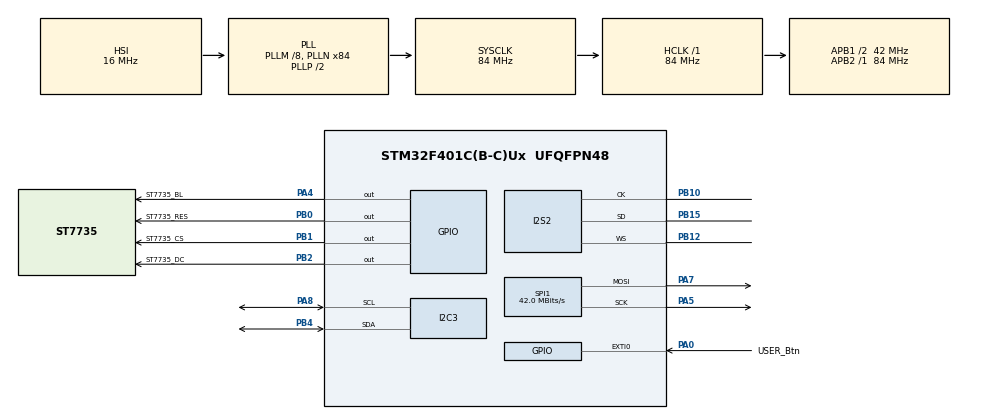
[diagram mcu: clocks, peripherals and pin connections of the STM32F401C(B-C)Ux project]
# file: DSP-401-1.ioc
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Dma.Request0=SPI2_RX
Dma.Request1=SPI1_TX
Dma.SPI1_TX.1.Direction=DMA_MEMORY_TO_PERIPH
Dma.SPI1_TX.1.FIFOMode=DMA_FIFOMODE_DISABLE
Dma.SPI1_TX.1.Instance=DMA2_Stream3
Dma.SPI1_TX.1.MemDataAlignment=DMA_MDATAALIGN_BYTE
Dma.SPI1_TX.1.MemInc=DMA_MINC_ENABLE
Dma.SPI1_TX.1.Mode=DMA_NORMAL
Dma.SPI1_TX.1.PeriphDataAlignment=DMA_PDATAALIGN_BYTE
Dma.SPI1_TX.1.PeriphInc=DMA_PINC_DISABLE
Dma.SPI1_TX.1.Priority=DMA_PRIORITY_LOW
Dma.SPI2_RX.0.Direction=DMA_PERIPH_TO_MEMORY
Dma.SPI2_RX.0.FIFOMode=DMA_FIFOMODE_DISABLE
Dma.SPI2_RX.0.Instance=DMA1_Stream3
Dma.SPI2_RX.0.MemDataAlignment=DMA_MDATAALIGN_HALFWORD
Dma.SPI2_RX.0.MemInc=DMA_MINC_ENABLE
Dma.SPI2_RX.0.Mode=DMA_CIRCULAR
Dma.SPI2_RX.0.PeriphDataAlignment=DMA_PDATAALIGN_HALFWORD
Dma.SPI2_RX.0.PeriphInc=DMA_PINC_DISABLE
Dma.SPI2_RX.0.Priority=DMA_PRIORITY_LOW
I2C3.I2C_Mode=I2C_Fast
I2S2.AudioFreq=I2S_AUDIOFREQ_96K
I2S2.DataFormat=I2S_DATAFORMAT_24B
I2S2.ErrorAudioFreq=0.91 %
I2S2.FullDuplexMode=I2S_FULLDUPLEXMODE_DISABLE
I2S2.Instance=SPI$Index
I2S2.Mode=I2S_MODE_MASTER_RX
I2S2.RealAudioFreq=96.875 KHz
I2S2.VirtualMode=I2S_MODE_MASTER
Mcu.Family=STM32F4
Mcu.Name=STM32F401C(B-C)Ux
Mcu.Package=UFQFPN48
NVIC.DMA1_Stream3_IRQn=true\:0\:0\:false\:false\:true\:false\:true\:true
NVIC.DMA2_Stream3_IRQn=true\:0\:0\:false\:false\:true\:false\:true\:true
NVIC.EXTI0_IRQn=true\:0\:0\:false\:false\:true\:true\:true\:true
NVIC.PriorityGroup=NVIC_PRIORITYGROUP_4
PA0-WKUP.GPIO_Label=USER_Btn
PA0-WKUP.GPIO_PuPd=GPIO_PULLUP
PA0-WKUP.Signal=GPXTI0
PA13.Mode=Serial_Wire
PA13.Signal=SYS_JTMS-SWDIO
PA14.Mode=Serial_Wire
PA14.Signal=SYS_JTCK-SWCLK
PA4.GPIO_Label=ST7735_BL
PA4.Signal=GPIO_Output
PA5.Mode=TX_Only_Simplex_Unidirect_Master
PA5.Signal=SPI1_SCK
PA7.Mode=TX_Only_Simplex_Unidirect_Master
PA7.Signal=SPI1_MOSI
PA8.Mode=I2C
PA8.Signal=I2C3_SCL
PB0.GPIO_Label=ST7735_RES
PB0.Signal=GPIO_Output
PB1.GPIO_Label=ST7735_CS
PB1.Signal=GPIO_Output
PB10.Mode=Half_Duplex_Master
PB10.Signal=I2S2_CK
PB12.Mode=Half_Duplex_Master
PB12.Signal=I2S2_WS
PB15.Mode=Half_Duplex_Master
PB15.Signal=I2S2_SD
PB2.GPIO_Label=ST7735_DC
PB2.Signal=GPIO_Output
PB4.Mode=I2C
PB4.Signal=I2C3_SDA
PH0\ -\ OSC_IN.Mode=HSE-External-Oscillator
PH0\ -\ OSC_IN.Signal=RCC_OSC_IN
PH1\ -\ OSC_OUT.Mode=HSE-External-Oscillator
PH1\ -\ OSC_OUT.Signal=RCC_OSC_OUT
ProjectManager.HeapSize=0x200
ProjectManager.StackSize=0x400
ProjectManager.TargetToolchain=STM32CubeIDE
RCC.48MHZClocksFreq_Value=42000000
RCC.AHBFreq_Value=84000000
RCC.APB1CLKDivider=RCC_HCLK_DIV2
RCC.APB1Freq_Value=42000000
RCC.APB1TimFreq_Value=84000000
RCC.APB2Freq_Value=84000000
RCC.APB2TimFreq_Value=84000000
RCC.CortexFreq_Value=84000000
RCC.HCLKFreq_Value=84000000
RCC.HSE_VALUE=25000000
RCC.HSI_VALUE=16000000
RCC.LSE_VALUE=32768
RCC.PLLI2SN=93
RCC.PLLM=8
RCC.PLLN=84
RCC.SYSCLKFreq_VALUE=84000000
RCC.SYSCLKSource=RCC_SYSCLKSOURCE_PLLCLK
RCC.VCOOutputFreq_Value=168000000
SPI1.BaudRatePrescaler=SPI_BAUDRATEPRESCALER_2
SPI1.CalculateBaudRate=42.0 MBits/s
SPI1.DataSize=SPI_DATASIZE_8BIT
SPI1.Direction=SPI_DIRECTION_2LINES
SPI1.Mode=SPI_MODE_MASTER
SPI1.VirtualType=VM_MASTER
STMicroelectronics.X-CUBE-ALGOBUILD.1.3.0.LibraryCcDSPOoLibraryJjDSPOoLibrary=true
VP_STMicroelectronics.X-CUBE-ALGOBUILD_VS_DSPOoLibraryJjLibrary_1.3.0_1.3.0.Mode=DSPOoLibraryJjLibrary
board=custom

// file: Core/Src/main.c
/* USER CODE BEGIN Header */
/**
  ******************************************************************************
  * @file           : main.c
  * @brief          : Main program body
  ******************************************************************************
  * @attention
  *
  * Copyright (c) 2024 STMicroelectronics.
  * All rights reserved.
  *
  * This software is licensed under terms that can be found in the LICENSE file
  * in the root directory of this software component.
  * If no LICENSE file comes with this software, it is provided AS-IS.
  *
  ******************************************************************************
  */
/* USER CODE END Header */
#include "main.h"
#include "dma.h"
#include "i2c.h"
#include "i2s.h"
#include "spi.h"
#include "gpio.h"

/* USER CODE BEGIN Includes */
#include "global_variables.h"
#include "callbacks.h"
#include "FFT.h"
#include <math.h>
#include <stdint.h>
#include <stdio.h>
#include <time.h>
#include <sys/time.h>
#include <stdbool.h>
//#include "ssd1306.h"
#include "u8g2/u8g2.h"
//#include "st7735.h"
#include "st7735/st7735.h"
#include "st7735/fonts.h"
#include "st7735/testimg.h"
/* USER CODE END Includes */

/* USER CODE BEGIN PTD */
//OLED

/* USER CODE END PTD */

void SystemClock_Config(void);
/* USER CODE BEGIN PFP */
const unsigned char upir_logo [] = {0xEA, 0x3A, 0xAA, 0x28, 0x6A, 0x1A, 0x26, 0x2A};

/* USER CODE END PFP */

/* USER CODE BEGIN 0 */
extern uint8_t u8x8_stm32_gpio_and_delay(u8x8_t *u8x8, uint8_t msg, uint8_t arg_int, void *arg_ptr);
//extern uint8_t u8x8_byte_stm32_hw_spi(u8x8_t *u8x8, uint8_t msg, uint8_t arg_int, void *arg_ptr);
extern uint8_t u8x8_byte_stm32_hw_i2c(u8x8_t *u8x8, uint8_t msg, uint8_t arg_int, void *arg_ptr);

static u8g2_t u8g2;
//-----------инициализация вывода команды отладчика print----------------//
int _write(int file, uint8_t *ptr, int len)
{

	for (int DataIdx = 0; DataIdx < len; DataIdx++)
	{
		ITM_SendChar(*ptr++);
	}
	return len;
}
//-----------инициализация вывода команды отладчика print----------------//
void demoTFT(void)
{
 ST7735_SetRotation(r);

 ST7735_FillScreen(ST7735_BLACK);

 for(int x = 0; x < ST7735_GetWidth(); x++)
 {
   ST7735_DrawPixel(x, 0, ST7735_WHITE);
   ST7735_DrawPixel(x, ST7735_GetHeight() - 1, ST7735_WHITE);
 }

 for(int y = 0; y < ST7735_GetHeight(); y++)
 {
   ST7735_DrawPixel(0, y, ST7735_WHITE);
   ST7735_DrawPixel(ST7735_GetWidth() - 1, y, ST7735_WHITE);
 }

 ST7735_DrawLine(0, 0, ST7735_GetWidth(), ST7735_GetHeight(), ST7735_WHITE);
 ST7735_DrawLine(ST7735_GetWidth(), 0, 0, ST7735_GetHeight(), ST7735_WHITE);

 HAL_Delay(2000);

 ST7735_FillScreen(ST7735_BLACK);

 for (int i = 0; i < ST7735_GetHeight(); i += 4)
 {
  ST7735_DrawFastHLine(0, i, ST7735_GetWidth() - 1, ST7735_WHITE);
 }

 for (int i = 0; i < ST7735_GetWidth(); i += 4)
 {
  ST7735_DrawFastVLine(i, 0, ST7735_GetHeight() - 1, ST7735_WHITE);
 }

 HAL_Delay(2000);

 // Check fonts
 ST7735_FillScreen(ST7735_BLACK);
 ST7735_DrawString(0, 0, "Font_7x10, red on black, lorem ipsum dolor sit amet", Font_7x10, ST7735_RED, ST7735_BLACK);
 ST7735_DrawString(0, 3*10, "Font_11x18, green, lorem ipsum", Font_11x18, ST7735_GREEN, ST7735_BLACK);
 ST7735_DrawString(0, 3*10+3*18, "Font_16x26", Font_16x26, ST7735_BLUE, ST7735_BLACK);
 HAL_Delay(2000);

 // Check colors
 ST7735_FillScreen(ST7735_BLACK);
 ST7735_DrawString(0, 0, "BLACK", Font_11x18, ST7735_WHITE, ST7735_BLACK);
 HAL_Delay(500);

 ST7735_FillScreen(ST7735_BLUE);
 ST7735_DrawString(0, 0, "BLUE", Font_11x18, ST7735_BLACK, ST7735_BLUE);
 HAL_Delay(500);

 ST7735_FillScreen(ST7735_RED);
 ST7735_DrawString(0, 0, "RED", Font_11x18, ST7735_BLACK, ST7735_RED);
 HAL_Delay(500);

 ST7735_FillScreen(ST7735_GREEN);
 ST7735_DrawString(0, 0, "GREEN", Font_11x18, ST7735_BLACK, ST7735_GREEN);
 HAL_Delay(500);

 ST7735_FillScreen(ST7735_CYAN);
 ST7735_DrawString(0, 0, "CYAN", Font_11x18, ST7735_BLACK, ST7735_CYAN);
 HAL_Delay(500);

 ST7735_FillScreen(ST7735_MAGENTA);
 ST7735_DrawString(0, 0, "MAGENTA", Font_11x18, ST7735_BLACK, ST7735_MAGENTA);
 HAL_Delay(500);

 ST7735_FillScreen(ST7735_YELLOW);
 ST7735_DrawString(0, 0, "YELLOW", Font_11x18, ST7735_BLACK, ST7735_YELLOW);
 HAL_Delay(500);

 ST7735_FillScreen(ST7735_WHITE);
 ST7735_DrawString(0, 0, "WHITE", Font_11x18, ST7735_BLACK, ST7735_WHITE);
 HAL_Delay(500);

 // Draw circles
 ST7735_FillScreen(ST7735_BLACK);
 for (int i = 0; i < ST7735_GetHeight() / 2; i += 2)
 {
  ST7735_DrawCircle(ST7735_GetWidth() / 2, ST7735_GetHeight() / 2, i, ST7735_YELLOW);
 }
 HAL_Delay(1000);

 ST7735_FillScreen(ST7735_BLACK);
 ST7735_FillTriangle(0, 0, ST7735_GetWidth() / 2, ST7735_GetHeight(), ST7735_GetWidth(), 0, ST7735_RED);
 HAL_Delay(1000);

 ST7735_FillScreen(ST7735_BLACK);
 ST7735_DrawImage(0, 0, 128, 128, (uint16_t*) test_img_128x128);
 HAL_Delay(3000);

 r++;
}
void main_loop()
{
	int fft_in_ptr = 0;
	if (buffer_state == FFT_BUFFER_HALF)
		  {
			  for (int i = 0;i < 1024; i++)
				  //fft_input_buffer[i] = (float)(int)adc_buffer[i];
			  {
				  fft_input_buffer[fft_in_ptr] = (float) ((int) (adc_buffer[i]<<16)|adc_buffer[i+1]);// | Побитовый инклюзивный оператор OR
				  //fft_input_buffer[fft_in_ptr] = (float)adc_buffer[i] / 4096.0*3.3;
				  //fft_input_buffer[fft_in_ptr] += (float) ((int) (adc_buffer[i+2]<<16)|adc_buffer[i+3]);
				  fft_in_ptr++;
			  }
			  FFT();
		  }

		  if (buffer_state == FFT_BUFFER_FULL)
		  {
			  for (int i = 1024;i < 2048; i++)
				  //fft_input_buffer[i] = (float)(int)adc_buffer[i];
			  {
				  fft_input_buffer[fft_in_ptr] = (float) ((int) (adc_buffer[i]<<16)|adc_buffer[i+1]);// | Побитовый инклюзивный оператор OR
				  //fft_input_buffer[fft_in_ptr] = (float)adc_buffer[i] / 4096.0*3.3;
				  //fft_input_buffer[fft_in_ptr] += (float) ((int) (adc_buffer[i+2]<<16)|adc_buffer[i+3]);
				  fft_in_ptr++;
				  xxx = i;
			   }
			  FFT();
		  }

		  if (buffer_state == FFT_DISPLAY)
		  {
			  //DisplayFFT();
			//  u8g2_ClearBuffer (&u8g2);
			//  u8g2_SetDrawColor(&u8g2,1);

			  switch(display_state)
			  	{
			  	case DISPLAY_MANY:
			  		//u8g2_SetFont(&u8g2, u8g2_font_nerhoe_tr);
				  		//uint8_t r = 3;
				  		ST7735_SetRotation(r);
				  		ST7735_FillScreen(ST7735_BLACK);

	//			  		 ST7735_DrawString(0, 0, "Font_7x10, red on black, lorem ipsum dolor sit amet", Font_7x10, ST7735_RED, ST7735_BLACK);
	//			  		 ST7735_DrawString(0, 3*10, "Font_11x18, green, lorem ipsum", Font_11x18, ST7735_GREEN, ST7735_BLACK);
	//			  		 ST7735_DrawString(0, 3*10+3*18, "Font_16x26", Font_16x26, ST7735_BLUE, ST7735_BLACK);
				  		 //HAL_Delay(2000);

				  		for (int i=0; i<32; i++) // loop for every fraquency (63Hz, 160Hz, 400Hz, 1kHz, 2.5kHz, 6.25kHz and 16kHz)
				  		{

				  			//random_value = freqs[chosen_freqs[i]]/maxMagnitude;//freqs[chosen_freqs[i]];//(rand()%53 + 0);//bandValues[i];//(rand()%53 + 0);; // calculate random value between 0-1024

				  			random_value = freqs [chosen_freqs[i]]-maxValue-maxMagnitude;//maxValue*2;//bandValues[i]/maxMagnitude;
				  			if (random_value > 40) random_value = 40;
				  			audio_bar_height[i] = audio_bar_height[i] + ((random_value - audio_bar_height[i]))/value; // update the bar with a new value (slowly)

				  			// calculate the peak position
				  			if (audio_bar_peak[i] < audio_bar_height[i]) // if the peak is below the current bar size
				  			{
				  				audio_bar_peak[i] = audio_bar_height[i]; // move peak to the new max. position (i.e. size of the bar)
				  			}
				  			else if (audio_bar_peak[i] > audio_bar_height[i])
				  			{ // if the bar is lower than the peak
				  				audio_bar_peak[i]--; // slowly move the peak down, one pixel every frame
				  				//audio_bar_peak[i]--; // slowly move the peak down, one pixel every frame
				  				//audio_bar_peak[i]--; // slowly move the peak down, one pixel every frame
				  			}

				  			ST7735_FillRectangle(1 + i*5, 40, 3, audio_bar_height[i], 0x3fe0);
				  			ST7735_FillRectangle(1 + i*5, 40-audio_bar_height[i], 3, audio_bar_height[i], 0xf7e0);
				  			ST7735_FillRectangle(1 + i*5, 40-audio_bar_peak[i], 3, 3, 0x04bf);//(rand()%65534 + 0)); // draw peak 64-audio_bar_peak[i]
				  			ST7735_FillRectangle(1 + i*5, 40+audio_bar_peak[i], 3, 3, 0xf816);//(rand()%65534 + 0)); // draw peak 64-audio_bar_peak[i]
	//			  			u8g2_DrawBox(&u8g2,1 + i*4, 32, 1, audio_bar_height[i]); // draw bar 64-audio_bar_height[i]
	//			  			u8g2_DrawBox(&u8g2,1 + i*4, 32-audio_bar_height[i], 1, audio_bar_height[i]); // draw bar 64-audio_bar_height[i]
	//			  			u8g2_DrawBox(&u8g2,1 + i*4, 32-audio_bar_peak[i], 1, 2); // draw peak 64-audio_bar_peak[i]
	//			  			u8g2_DrawBox(&u8g2,1 + i*4, 32+audio_bar_peak[i], 1, 2); // draw peak 64-audio_bar_peak[i]

				  		}
				  		//r++;
			  		break;
			  	case DISPLAY_FEW:
			  		//u8g2_SetFont(&u8g2, u8g2_font_nerhoe_tr);

			  						  		ST7735_SetRotation(r);
			  						  		ST7735_FillScreen(ST7735_BLACK);

			  						  		for (int i=0; i<32; i++) // loop for every fraquency (63Hz, 160Hz, 400Hz, 1kHz, 2.5kHz, 6.25kHz and 16kHz)
			  						  		{

			  						  			//random_value = freqs[chosen_freqs[i]]/maxMagnitude;//freqs[chosen_freqs[i]];//(rand()%53 + 0);//bandValues[i];//(rand()%53 + 0);; // calculate random value between 0-1024

			  						  			random_value = freqs [chosen_freqs[i]]-maxValue-maxMagnitude1;//maxValue*2;//bandValues[i]/maxMagnitude;
			  						  			if (random_value > 80) random_value = 80;
			  						  			audio_bar_height[i] = audio_bar_height[i] + ((random_value - audio_bar_height[i]))/value; // update the bar with a new value (slowly)

			  						  			// calculate the peak position
			  						  			if (audio_bar_peak[i] < audio_bar_height[i]) // if the peak is below the current bar size
			  						  			{
			  						  				audio_bar_peak[i] = audio_bar_height[i]; // move peak to the new max. position (i.e. size of the bar)
			  						  			}
			  						  			else if (audio_bar_peak[i] > audio_bar_height[i])
			  						  			{ // if the bar is lower than the peak
			  						  				audio_bar_peak[i]--; // slowly move the peak down, one pixel every frame
			  						  				//audio_bar_peak[i]--; // slowly move the peak down, one pixel every frame
			  						  				//audio_bar_peak[i]--; // slowly move the peak down, one pixel every frame
			  						  			}

			  						  			ST7735_FillRectangle(1 + i*5, 80-audio_bar_height[i], 3, audio_bar_height[i], 0xffe0);
			  						  			ST7735_FillRectangle(1 + i*5, 80-audio_bar_peak[i], 3, 3, ST7735_RED);

			  			//			  			u8g2_DrawBox(&u8g2,1 + i*4, 32, 1, audio_bar_height[i]); // draw bar 64-audio_bar_height[i]
			  			//			  			u8g2_DrawBox(&u8g2,1 + i*4, 32-audio_bar_height[i], 1, audio_bar_height[i]); // draw bar 64-audio_bar_height[i]
			  			//			  			u8g2_DrawBox(&u8g2,1 + i*4, 32-audio_bar_peak[i], 1, 2); // draw peak 64-audio_bar_peak[i]
			  			//			  			u8g2_DrawBox(&u8g2,1 + i*4, 32+audio_bar_peak[i], 1, 2); // draw peak 64-audio_bar_peak[i]

			  						  		}
//			  		u8g2_SetFont(&u8g2, u8g2_font_nerhoe_tr);
//			  		for (int i=0; i<32; i++) // loop for every fraquency (63Hz, 160Hz, 400Hz, 1kHz, 2.5kHz, 6.25kHz and 16kHz)
//			  		{
//
//			  			//random_value = freqs[chosen_freqs[i]]/maxMagnitude;//freqs[chosen_freqs[i]];//(rand()%53 + 0);//bandValues[i];//(rand()%53 + 0);; // calculate random value between 0-1024
//
//			  			random_value = freqs [chosen_freqs[i]]-maxValue-maxMagnitude;//maxValue*2;//bandValues[i]/maxMagnitude;
//			  			if (random_value > 64) random_value = 64;
//			  			audio_bar_height[i] = audio_bar_height[i] + ((random_value - audio_bar_height[i]))/value; // update the bar with a new value (slowly)
//
//			  			// calculate the peak position
//			  			if (audio_bar_peak[i] < audio_bar_height[i]) // if the peak is below the current bar size
//			  			{
//			  				audio_bar_peak[i] = audio_bar_height[i]; // move peak to the new max. position (i.e. size of the bar)
//			  			}
//			  			else if (audio_bar_peak[i] > audio_bar_height[i])
//			  			{ // if the bar is lower than the peak
//			  				audio_bar_peak[i]--; // slowly move the peak down, one pixel every frame
//			  				//audio_bar_peak[i]--; // slowly move the peak down, one pixel every frame
//			  				//audio_bar_peak[i]--; // slowly move the peak down, one pixel every frame
//			  			}
//
//			  			u8g2_DrawBox(&u8g2,1 + i*4, 64-audio_bar_height[i], 1, audio_bar_height[i]); // draw bar 64-audio_bar_height[i]
//			  			u8g2_DrawBox(&u8g2,1 + i*4, 64-audio_bar_peak[i], 1, 1); // draw bar 64-audio_bar_height[i]
//			  			//u8g2_DrawBox(&u8g2,1 + i*4, 64-audio_bar_peak[i], 1, 1); // draw peak 64-audio_bar_peak[i]
//			  			//u8g2_DrawBox(&u8g2,1 + i*4, 64-audio_bar_peak[i], 1, 1); // draw peak 64-audio_bar_peak[i]
//			  		}

			  		break;
			  	case DISPLAY_COW:
			  		u8g2_SetFont(&u8g2, u8g2_font_nerhoe_tr);
			  					  		for (int i=0; i<32; i++) // loop for every fraquency (63Hz, 160Hz, 400Hz, 1kHz, 2.5kHz, 6.25kHz and 16kHz)
			  					  		{

			  					  			//random_value = freqs[chosen_freqs[i]]/maxMagnitude;//freqs[chosen_freqs[i]];//(rand()%53 + 0);//bandValues[i];//(rand()%53 + 0);; // calculate random value between 0-1024

			  					  			random_value = freqs [chosen_freqs[i]]-maxValue-maxMagnitude;//maxValue*2;//bandValues[i]/maxMagnitude;
			  					  			if (random_value > 32) random_value = 32;
			  					  			audio_bar_height[i] = audio_bar_height[i] + ((random_value - audio_bar_height[i]))/value; // update the bar with a new value (slowly)

			  					  			// calculate the peak position
			  					  			if (audio_bar_peak[i] < audio_bar_height[i]) // if the peak is below the current bar size
			  					  			{
			  					  				audio_bar_peak[i] = audio_bar_height[i]; // move peak to the new max. position (i.e. size of the bar)
			  					  			}
			  					  			else if (audio_bar_peak[i] > audio_bar_height[i])
			  					  			{ // if the bar is lower than the peak
			  					  				audio_bar_peak[i]--; // slowly move the peak down, one pixel every frame
			  					  				//audio_bar_peak[i]--; // slowly move the peak down, one pixel every frame
			  					  				//audio_bar_peak[i]--; // slowly move the peak down, one pixel every frame
			  					  			}

			  					  			u8g2_DrawBox(&u8g2,1 + i*4, 32, 1, audio_bar_height[i]); // draw bar 64-audio_bar_height[i]
			  					  			u8g2_DrawBox(&u8g2,1 + i*4, 32-audio_bar_height[i], 1, audio_bar_height[i]); // draw bar 64-audio_bar_height[i]
			  					  			u8g2_DrawBox(&u8g2,1 + i*4, 32-audio_bar_peak[i], 1, 2); // draw peak 64-audio_bar_peak[i]
			  					  			u8g2_DrawBox(&u8g2,1 + i*4, 32+audio_bar_peak[i], 1, 2); // draw peak 64-audio_bar_peak[i]
			  					  		}
			  					  		//u8g2_SendBuffer(&u8g2);

			  					  		//xxx = 23;
			  		break;
			  	default:
			  		break;
			  	}
			 // u8g2_SendBuffer(&u8g2);
			  	buffer_state = FFT_BUFFER_CLEAR;
			  }

//			  					  	  			  		      u8g2_SetFont(&u8g2, u8g2_font_nerhoe_tr);
//			  					  	  			  			  u8g2_DrawStr(&u8g2,  2, 64, ".");
//			  					  	  			  			  u8g2_DrawStr(&u8g2, 7, 64, ".");
//			  					  	  			  			  u8g2_DrawStr(&u8g2, 12, 64, ".");
//			  					  	  			  			  u8g2_DrawStr(&u8g2, 17, 64, ".");
//			  					  	  			  			  u8g2_DrawStr(&u8g2, 22, 64, ".");
//			  					  	  			  			  u8g2_DrawStr(&u8g2, 27, 64, ".");
//			  					  	  			  			  u8g2_DrawStr(&u8g2, 32, 64, ".");
//			  					  	  			  			  u8g2_DrawStr(&u8g2, 37, 64, ".");
//			  					  	  			  			  u8g2_DrawStr(&u8g2, 42, 64, ".");
//			  					  	  			  			  u8g2_DrawStr(&u8g2, 47, 64, ".");
//			  					  	  			  			  u8g2_DrawStr(&u8g2, 52, 64, ".");
//			  					  	  			  			  u8g2_DrawStr(&u8g2, 57, 64, ".");
//			  					  	  			  			  u8g2_DrawStr(&u8g2, 62, 64, ".");
//			  					  	  			  			  u8g2_DrawStr(&u8g2, 67, 64, ".");
//			  					  	  			  			  u8g2_DrawStr(&u8g2, 72, 64, ".");
//			  					  	  			  			  u8g2_DrawStr(&u8g2, 77, 64, ".");
//			  					  	  			  			  u8g2_DrawStr(&u8g2, 82, 64, ".");
//			  					  	  			  			  u8g2_DrawStr(&u8g2, 87, 64, ".");
//			  					  	  			  			  u8g2_DrawStr(&u8g2, 92, 64, ".");
//			  					  	  			  		      u8g2_DrawStr(&u8g2, 97, 64, ".");
//			  					  	  			  		      u8g2_DrawStr(&u8g2, 102, 64, ".");
//			  					  	  			  		      u8g2_DrawStr(&u8g2, 107, 64, ".");
//			  					  	  			  		      u8g2_DrawStr(&u8g2, 112, 64, ".");
//			  					  	  			  		      u8g2_DrawStr(&u8g2, 117, 64, ".");
			  					  	  		//	  			u8g2_DrawXBMP(&u8g2,0, 0, 16, 4, upir_logo);  // draw upir logo
			  					  	  			  			//u8g2_SendBuffer (& u8g2);

			  					  	  			  	//	u8g2_SendBuffer(&u8g2);
			  					  	  		//	  buffer_state = FFT_BUFFER_CLEAR;
		 // }
}
/* USER CODE END 0 */

int main(void)
{

  /* MCU Configuration--------------------------------------------------------*/

  /* Reset of all peripherals, Initializes the Flash interface and the Systick. */
  HAL_Init();

  /* Configure the system clock */
  SystemClock_Config();

  /* Initialize all configured peripherals */
  MX_GPIO_Init();
  MX_DMA_Init();
  MX_I2C3_Init();
  MX_I2S2_Init();
  MX_SPI1_Init();
  /* USER CODE BEGIN 2 */
  //ssd1306_Init();

  ST7735_Init();
  HAL_Delay(500);
    ST7735_Backlight_On();

    //ssd1306_Fill(1);
    //ssd1306_UpdateScreen();
  //HAL_ADC_Start_DMA(&hadc1, adc_buffer, 4096);

    HAL_I2S_Receive_DMA(&hi2s2, (uint32_t *)adc_buffer, 2048);

    arm_rfft_fast_init_f32(&fft_handler, 1024);
    //arm_rfft_init_q31(&fft_handler, 2048, 0,0);

    // для корректной работы этой функции нужно добавить файл gettimeofday.c в проект
            srand(time(NULL)); // правильно работает функция rand()
           /*gettimeofday.c - содержимое файла ниже
            #include <sys/time.h>

          int _gettimeofday( struct timeval *tv, void *tzvp )
          {
              // you can add code here there many example in google search.
              return 0;  // return non-zero for error
          } // end _gettimeofday()*/
          // для корректной работы этой функции нужно добавить файл gettimeofday.c в проект
            //---------------какой дисплей используется ?----------//
                //u8g2_Setup_ssd1306_i2c_128x32_univision_f(&u8g2, U8G2_R0, u8x8_byte_stm32_hw_i2c, u8x8_stm32_gpio_and_delay);// инициализация дисплей маленький
                //u8g2_Setup_max7219_8x8_1(&u8g2, U8G2_R0, u8x8_byte_stm32_hw_i2c, u8x8_stm32_gpio_and_delay);// инициализация дисплей max7219
//                u8g2_Setup_ssd1306_i2c_128x64_noname_f(&u8g2, U8G2_R0, u8x8_byte_stm32_hw_i2c, u8x8_stm32_gpio_and_delay);// инициализация дисплей большой
//                 //---------------какой дисплей используется ?----------//
//                 /* I2C Interface */
//                                            /* Initialize Display */
//
//
//                   	    	u8g2_InitDisplay(&u8g2);
//                   	    	u8g2_SetPowerSave(&u8g2, 0);
//                   	    	u8g2_SetDrawColor(&u8g2,1);
//                   	    	u8g2_SetFont(&u8g2, u8g2_font_nerhoe_tr);
//                   	    	u8g2_DrawStr(&u8g2, 7, 64, "PRIVET");
//                   	    	u8g2_SendBuffer(&u8g2);

  /* USER CODE END 2 */

  /* Infinite loop */
  while (1)
  {

    /* USER CODE BEGIN 3 */
	  main_loop();
	  //demoTFT();

  }
  /* USER CODE END 3 */
}

void SystemClock_Config(void)
{
  RCC_OscInitTypeDef RCC_OscInitStruct = {0};
  RCC_ClkInitTypeDef RCC_ClkInitStruct = {0};

  /** Configure the main internal regulator output voltage
  */
  __HAL_RCC_PWR_CLK_ENABLE();
  __HAL_PWR_VOLTAGESCALING_CONFIG(PWR_REGULATOR_VOLTAGE_SCALE2);

  /** Initializes the RCC Oscillators according to the specified parameters
  * in the RCC_OscInitTypeDef structure.
  */
  RCC_OscInitStruct.OscillatorType = RCC_OSCILLATORTYPE_HSI;
  RCC_OscInitStruct.HSIState = RCC_HSI_ON;
  RCC_OscInitStruct.HSICalibrationValue = RCC_HSICALIBRATION_DEFAULT;
  RCC_OscInitStruct.PLL.PLLState = RCC_PLL_ON;
  RCC_OscInitStruct.PLL.PLLSource = RCC_PLLSOURCE_HSI;
  RCC_OscInitStruct.PLL.PLLM = 8;
  RCC_OscInitStruct.PLL.PLLN = 84;
  RCC_OscInitStruct.PLL.PLLP = RCC_PLLP_DIV2;
  RCC_OscInitStruct.PLL.PLLQ = 4;
  if (HAL_RCC_OscConfig(&RCC_OscInitStruct) != HAL_OK)
  {
    Error_Handler();
  }

  /** Initializes the CPU, AHB and APB buses clocks
  */
  RCC_ClkInitStruct.ClockType = RCC_CLOCKTYPE_HCLK|RCC_CLOCKTYPE_SYSCLK
                              |RCC_CLOCKTYPE_PCLK1|RCC_CLOCKTYPE_PCLK2;
  RCC_ClkInitStruct.SYSCLKSource = RCC_SYSCLKSOURCE_PLLCLK;
  RCC_ClkInitStruct.AHBCLKDivider = RCC_SYSCLK_DIV1;
  RCC_ClkInitStruct.APB1CLKDivider = RCC_HCLK_DIV2;
  RCC_ClkInitStruct.APB2CLKDivider = RCC_HCLK_DIV1;

  if (HAL_RCC_ClockConfig(&RCC_ClkInitStruct, FLASH_LATENCY_2) != HAL_OK)
  {
    Error_Handler();
  }
}

void Error_Handler(void)
{
  __disable_irq();
  while (1)
  {
  }
}
